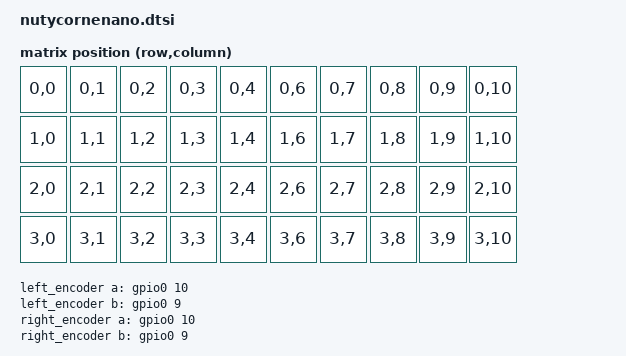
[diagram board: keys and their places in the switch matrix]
/*
 * Copyright (c) 2020 Pete Johanson
 *
 * SPDX-License-Identifier: MIT
 */

#include <dt-bindings/zmk/matrix_transform.h>
#include "nutycornenano-layouts.dtsi"

/ {
	//chosen {
	//	zmk,kscan = &kscan0;
	//	zmk,matrix_transform = &default_transform;
	//};

	default_transform: keymap_transform_0 {
		compatible = "zmk,matrix-transform";
		columns = <10>;
		rows = <4>;
		map = <
RC(0,0) RC(0,1) RC(0,2) RC(0,3) RC(0,4)   RC(0,6) RC(0,7) RC(0,8)  RC(0,9)   RC(0,10)  
RC(1,0) RC(1,1) RC(1,2) RC(1,3) RC(1,4)   RC(1,6) RC(1,7) RC(1,8)  RC(1,9)   RC(1,10)  
RC(2,0) RC(2,1) RC(2,2) RC(2,3) RC(2,4)   RC(2,6) RC(2,7) RC(2,8)  RC(2,9)   RC(2,10)  
RC(3,0) RC(3,1) RC(3,2) RC(3,3) RC(3,4)   RC(3,6) RC(3,7) RC(3,8)  RC(3,9)   RC(3,10)  
		>;
	};


    left_encoder: encoder_left {
        compatible = "alps,ec11";
        steps = <48>;
        status = "disabled";

        a-gpios = <&gpio0 10  (GPIO_ACTIVE_HIGH | GPIO_PULL_UP)>;
        b-gpios = <&gpio0 9 (GPIO_ACTIVE_HIGH | GPIO_PULL_UP)>;
    };

    right_encoder: right_encoder {
        compatible = "alps,ec11";
        steps = <48>;
        status = "disabled";

        a-gpios = <&gpio0 10  (GPIO_ACTIVE_HIGH | GPIO_PULL_UP)>;
        b-gpios = <&gpio0 9 (GPIO_ACTIVE_HIGH | GPIO_PULL_UP)>;
    };
    
    sensors: sensors {
        compatible = "zmk,keymap-sensors";
        sensors = <&left_encoder &right_encoder>;
        triggers-per-rotation = <24>;
    };

	kscan0: kscan {
		compatible = "zmk,kscan-gpio-matrix";
		label = "KSCAN";
	};

    
   
	// TODO: per-key RGB node(s)?
};

&physical_layout0 {
    kscan = <&kscan0>;
    transform = <&default_transform>;
};


&pinctrl {
};



&usbd {
	status = "okay";
};
